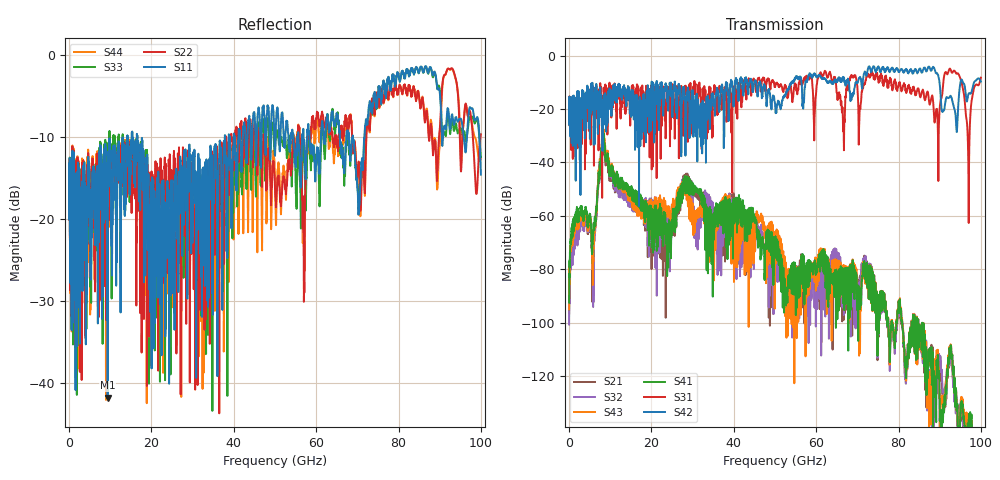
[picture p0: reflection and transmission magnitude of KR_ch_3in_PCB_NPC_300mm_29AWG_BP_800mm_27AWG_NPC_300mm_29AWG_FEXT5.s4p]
# GHz S RI R 45
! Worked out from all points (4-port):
!   4000 points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, 25 MHz to 100 GHz, reference 45 ohm
!   strongest paths, dB at 25 MHz, 25.02 GHz, 50.02 GHz, 75.03 GHz, 100 GHz:
!     S42: -20.6, -18.0, -18.0, -4.3, -9.8
!     S31: -20.7, -11.7, -11.5, -8.0, -8.3
!     S41: -92.5, -67.3, -70.3, -94.0, -154.9
!     S43: -95.1, -57.1, -70.6, -93.7, -161.4
!     S32: -100.7, -60.7, -81.3, -94.3, -165.4
!     S21: -96.6, -64.0, -73.2, -94.6, -165.4
!   lowest |S11| = -41.7 dB at 9.375 GHz (marker M1), VSWR 1.02, Z = 45.6 + j0.394 ohm
!   |S11| at or under -10 dB: start of sweep to 14.1 GHz; 16.57 GHz to 37.83 GHz (21.26 GHz wide, 78.2 % of centre); 58.38 GHz to 61.16 GHz (2.779 GHz wide, 4.65 % of centre)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
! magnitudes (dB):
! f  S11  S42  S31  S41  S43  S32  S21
! 25 MHz  -16.1  -20.6  -20.7  -92.5  -95.1  -100.7  -96.6
! 9.375 GHz  -41.7  -22.1  -21.7  -36.6  -35.6  -36.9  -37.9
! 24.3 GHz  -40.0  -14.7  -17.1  -61.9  -56.5  -62.1  -62.8
! 28.57 GHz  -14.0  -14.1  -14.2  -50.4  -54.0  -51.3  -49.7
! 92.62 GHz  -8.8  -15.1  -5.2  -109.3  -109.0  -111.4  -111.8
! 96.9 GHz  -7.9  -14.9  -35.9  -142.6  -142.4  -149.9  -145.8
! 100 GHz  -14.6  -9.8  -8.3  -154.9  -161.4  -165.4  -165.4
